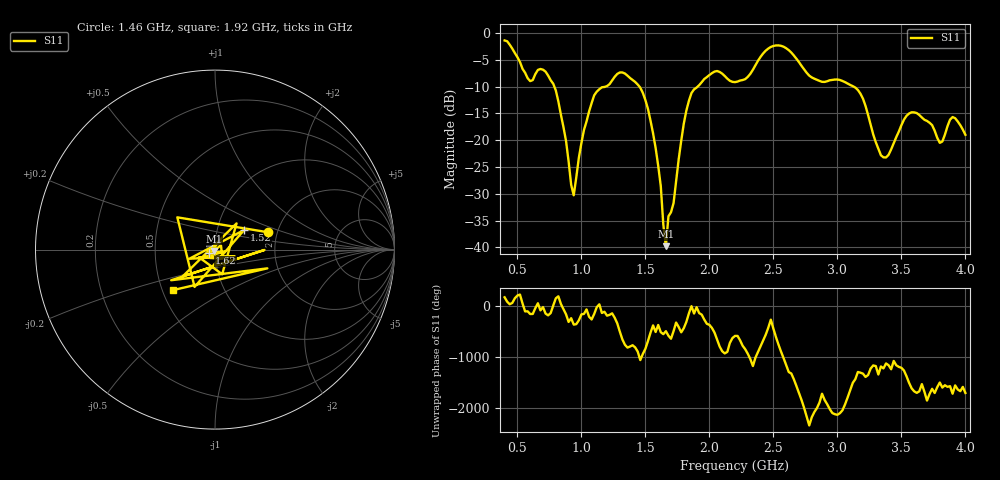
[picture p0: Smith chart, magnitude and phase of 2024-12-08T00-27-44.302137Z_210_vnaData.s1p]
!Created with skrf (http://scikit-rf.org).
# Hz S RI R 50.0
!freq ReS11 ImS11
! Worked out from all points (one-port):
!   181 points, 400 MHz to 4 GHz, reference 50 ohm
!   lowest |S11| = -39.8 dB at 1.66 GHz (marker M1), VSWR 1.02, Z = 49.3 - j0.745 ohm
!   |S11| at or under -10 dB: 788.6 MHz to 1.188 GHz (399.1 MHz wide, 40.4 % of centre); 1.453 GHz to 1.908 GHz (454.4 MHz wide, 27 % of centre); 3.127 GHz to end of sweep
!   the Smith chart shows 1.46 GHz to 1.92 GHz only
!   S11 on the Smith chart (normalised r, x): 1.46 GHz: 1.78, +0.38; 1.52 GHz: 1.35, +0.31; 1.62 GHz: 0.94, -0.03; 1.92 GHz: 0.57, -0.29
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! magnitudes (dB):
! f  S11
! 400 MHz  -1.4
! 600 MHz  -9.0
! 720 MHz  -7.2
! 800 MHz  -10.7
! 860 MHz  -17.6
! 940 MHz  -30.3
! 1.02 GHz  -18.1
! 1.1 GHz  -11.6
! 1.3 GHz  -7.4
! 1.46 GHz  -10.2
! 1.52 GHz  -14.2
! 1.62 GHz  -28.5
! 1.66 GHz  -39.8
! 1.76 GHz  -23.6
! 1.84 GHz  -12.6
! 1.92 GHz  -9.7
! 2.06 GHz  -7.1
! 2.2 GHz  -9.2
! 2.48 GHz  -2.6
! 2.66 GHz  -4.2
! 2.8 GHz  -8.3
! 3.1 GHz  -9.7
! 3.2 GHz  -12.3
! 3.36 GHz  -23.2
! 3.56 GHz  -15.0
! 3.8 GHz  -20.5
! 3.9 GHz  -15.7
! 4 GHz  -19.0
